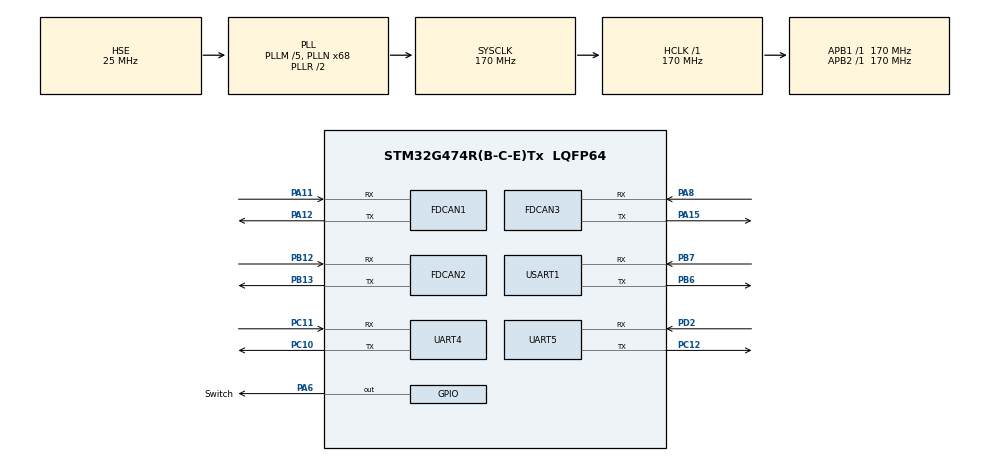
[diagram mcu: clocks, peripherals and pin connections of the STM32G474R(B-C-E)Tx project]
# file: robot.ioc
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Dma.Request0=USART1_RX
Dma.Request1=UART5_RX
Dma.Request2=UART4_RX
Dma.UART4_RX.2.Direction=DMA_PERIPH_TO_MEMORY
Dma.UART4_RX.2.EventEnable=DISABLE
Dma.UART4_RX.2.Instance=DMA1_Channel3
Dma.UART4_RX.2.MemDataAlignment=DMA_MDATAALIGN_BYTE
Dma.UART4_RX.2.MemInc=DMA_MINC_ENABLE
Dma.UART4_RX.2.Mode=DMA_NORMAL
Dma.UART4_RX.2.PeriphDataAlignment=DMA_PDATAALIGN_BYTE
Dma.UART4_RX.2.PeriphInc=DMA_PINC_DISABLE
Dma.UART4_RX.2.Polarity=HAL_DMAMUX_REQ_GEN_RISING
Dma.UART4_RX.2.Priority=DMA_PRIORITY_LOW
Dma.UART4_RX.2.RequestNumber=1
Dma.UART4_RX.2.SignalID=NONE
Dma.UART4_RX.2.SyncEnable=DISABLE
Dma.UART4_RX.2.SyncPolarity=HAL_DMAMUX_SYNC_NO_EVENT
Dma.UART4_RX.2.SyncRequestNumber=1
Dma.UART4_RX.2.SyncSignalID=NONE
Dma.UART5_RX.1.Direction=DMA_PERIPH_TO_MEMORY
Dma.UART5_RX.1.EventEnable=DISABLE
Dma.UART5_RX.1.Instance=DMA1_Channel2
Dma.UART5_RX.1.MemDataAlignment=DMA_MDATAALIGN_BYTE
Dma.UART5_RX.1.MemInc=DMA_MINC_ENABLE
Dma.UART5_RX.1.Mode=DMA_NORMAL
Dma.UART5_RX.1.PeriphDataAlignment=DMA_PDATAALIGN_BYTE
Dma.UART5_RX.1.PeriphInc=DMA_PINC_DISABLE
Dma.UART5_RX.1.Polarity=HAL_DMAMUX_REQ_GEN_RISING
Dma.UART5_RX.1.Priority=DMA_PRIORITY_LOW
Dma.UART5_RX.1.RequestNumber=1
Dma.UART5_RX.1.SignalID=NONE
Dma.UART5_RX.1.SyncEnable=DISABLE
Dma.UART5_RX.1.SyncPolarity=HAL_DMAMUX_SYNC_NO_EVENT
Dma.UART5_RX.1.SyncRequestNumber=1
Dma.UART5_RX.1.SyncSignalID=NONE
Dma.USART1_RX.0.Direction=DMA_PERIPH_TO_MEMORY
Dma.USART1_RX.0.EventEnable=DISABLE
Dma.USART1_RX.0.Instance=DMA1_Channel1
Dma.USART1_RX.0.MemDataAlignment=DMA_MDATAALIGN_BYTE
Dma.USART1_RX.0.MemInc=DMA_MINC_ENABLE
Dma.USART1_RX.0.Mode=DMA_NORMAL
Dma.USART1_RX.0.PeriphDataAlignment=DMA_PDATAALIGN_BYTE
Dma.USART1_RX.0.PeriphInc=DMA_PINC_DISABLE
Dma.USART1_RX.0.Polarity=HAL_DMAMUX_REQ_GEN_RISING
Dma.USART1_RX.0.Priority=DMA_PRIORITY_LOW
Dma.USART1_RX.0.RequestNumber=1
Dma.USART1_RX.0.SignalID=NONE
Dma.USART1_RX.0.SyncEnable=DISABLE
Dma.USART1_RX.0.SyncPolarity=HAL_DMAMUX_SYNC_NO_EVENT
Dma.USART1_RX.0.SyncRequestNumber=1
Dma.USART1_RX.0.SyncSignalID=NONE
FDCAN1.CalculateBaudRateNominal=1000000
FDCAN1.CalculateTimeBitNominal=1000
FDCAN1.CalculateTimeQuantumNominal=100.0
FDCAN1.DataPrescaler=17
FDCAN1.DataTimeSeg1=6
FDCAN1.DataTimeSeg2=3
FDCAN1.NominalPrescaler=17
FDCAN1.NominalTimeSeg1=6
FDCAN1.NominalTimeSeg2=3
FDCAN1.StdFiltersNbr=1
FDCAN2.CalculateBaudRateNominal=1000000
FDCAN2.CalculateTimeBitNominal=1000
FDCAN2.CalculateTimeQuantumNominal=100.0
FDCAN2.DataPrescaler=17
FDCAN2.DataTimeSeg1=6
FDCAN2.DataTimeSeg2=3
FDCAN2.Mode=FDCAN_MODE_NORMAL
FDCAN2.NominalPrescaler=17
FDCAN2.NominalTimeSeg1=6
FDCAN2.NominalTimeSeg2=3
FDCAN2.StdFiltersNbr=1
FDCAN3.CalculateBaudRateNominal=1000000
FDCAN3.CalculateTimeBitNominal=1000
FDCAN3.CalculateTimeQuantumNominal=100.0
FDCAN3.DataPrescaler=17
FDCAN3.DataTimeSeg1=6
FDCAN3.DataTimeSeg2=3
FDCAN3.NominalPrescaler=17
FDCAN3.NominalTimeSeg1=6
FDCAN3.NominalTimeSeg2=3
FDCAN3.StdFiltersNbr=1
FREERTOS.Mutexes01=motorMutex,Dynamic,NULL,Available
FREERTOS.Queues01=task3position,16,Task3Position_t,0,Dynamic,NULL,NULL
FREERTOS.Tasks01=Task,24,256,Task0,As weak,NULL,Dynamic,NULL,NULL
FREERTOS.configENABLE_FPU=1
FREERTOS.configMINIMAL_STACK_SIZE=256
Mcu.Family=STM32G4
Mcu.Name=STM32G474R(B-C-E)Tx
Mcu.Package=LQFP64
NVIC.DMA1_Channel1_IRQn=true\:5\:0\:false\:false\:true\:true\:false\:true\:true
NVIC.DMA1_Channel2_IRQn=true\:5\:0\:false\:false\:true\:true\:false\:true\:true
NVIC.DMA1_Channel3_IRQn=true\:5\:0\:false\:false\:true\:true\:false\:true\:true
NVIC.FDCAN1_IT0_IRQn=true\:5\:0\:false\:false\:true\:true\:true\:true\:true
NVIC.FDCAN1_IT1_IRQn=true\:5\:0\:false\:false\:true\:true\:true\:true\:true
NVIC.FDCAN2_IT0_IRQn=true\:5\:0\:false\:false\:true\:true\:true\:true\:true
NVIC.FDCAN2_IT1_IRQn=true\:5\:0\:false\:false\:true\:true\:true\:true\:true
NVIC.PriorityGroup=NVIC_PRIORITYGROUP_4
NVIC.TIM5_IRQn=true\:15\:0\:false\:false\:true\:false\:false\:true\:true
NVIC.TIM6_DAC_IRQn=true\:5\:0\:false\:false\:true\:true\:true\:true\:true
NVIC.TimeBase=TIM5_IRQn
NVIC.TimeBaseIP=TIM5
NVIC.UART4_IRQn=true\:5\:0\:false\:false\:true\:true\:true\:true\:true
NVIC.UART5_IRQn=true\:5\:0\:false\:false\:true\:true\:true\:true\:true
NVIC.USART1_IRQn=true\:5\:0\:false\:false\:true\:true\:true\:true\:true
PA11.Mode=FDCAN_Activate
PA11.Signal=FDCAN1_RX
PA12.Mode=FDCAN_Activate
PA12.Signal=FDCAN1_TX
PA13.Mode=Serial_Wire
PA13.Signal=SYS_JTMS-SWDIO
PA14.Mode=Serial_Wire
PA14.Signal=SYS_JTCK-SWCLK
PA15.Mode=FDCAN_Activate
PA15.Signal=FDCAN3_TX
PA6.GPIO_Label=Switch
PA6.PinState=GPIO_PIN_RESET
PA6.Signal=GPIO_Output
PA8.Mode=FDCAN_Activate
PA8.Signal=FDCAN3_RX
PB12.Mode=FDCAN_Activate
PB12.Signal=FDCAN2_RX
PB13.Mode=FDCAN_Activate
PB13.Signal=FDCAN2_TX
PB6.Mode=Asynchronous
PB6.Signal=USART1_TX
PB7.Mode=Asynchronous
PB7.Signal=USART1_RX
PC10.Mode=Asynchronous
PC10.Signal=UART4_TX
PC11.Mode=Asynchronous
PC11.Signal=UART4_RX
PC12.Mode=Asynchronous
PC12.Signal=UART5_TX
PC14-OSC32_IN.Mode=LSE-External-Oscillator
PC14-OSC32_IN.Signal=RCC_OSC32_IN
PC15-OSC32_OUT.Mode=LSE-External-Oscillator
PC15-OSC32_OUT.Signal=RCC_OSC32_OUT
PD2.Mode=Asynchronous
PD2.Signal=UART5_RX
PF0-OSC_IN.Mode=HSE-External-Oscillator
PF0-OSC_IN.Signal=RCC_OSC_IN
PF1-OSC_OUT.Mode=HSE-External-Oscillator
PF1-OSC_OUT.Signal=RCC_OSC_OUT
ProjectManager.HeapSize=0x400
ProjectManager.StackSize=0x400
ProjectManager.TargetToolchain=MDK-ARM V5.32
RCC.ADC12Freq_Value=170000000
RCC.ADC345Freq_Value=170000000
RCC.AHBFreq_Value=170000000
RCC.APB1Freq_Value=170000000
RCC.APB1TimFreq_Value=170000000
RCC.APB2Freq_Value=170000000
RCC.APB2TimFreq_Value=170000000
RCC.CortexFreq_Value=170000000
RCC.EXTERNAL_CLOCK_VALUE=12288000
RCC.HCLKFreq_Value=170000000
RCC.HSE_VALUE=25000000
RCC.HSI48_VALUE=48000000
RCC.HSI_VALUE=16000000
RCC.PLLM=RCC_PLLM_DIV5
RCC.PLLN=68
RCC.PLLSourceVirtual=RCC_PLLSOURCE_HSE
RCC.SYSCLKFreq_VALUE=170000000
RCC.SYSCLKSource=RCC_SYSCLKSOURCE_PLLCLK
RCC.USBFreq_Value=170000000
RCC.VCOOutputFreq_Value=340000000
TIM6.AutoReloadPreload=TIM_AUTORELOAD_PRELOAD_ENABLE
TIM6.PeriodNoDither=99
TIM6.Prescaler=8499
USART1.VirtualMode-Asynchronous=VM_ASYNC
VP_FREERTOS_VS_CMSIS_V2.Mode=CMSIS_V2
VP_SYS_VS_DBSignals.Mode=DisableDeadBatterySignals
VP_SYS_VS_tim5.Mode=TIM5
VP_TIM6_VS_ClockSourceINT.Mode=Enable_Timer
board=custom

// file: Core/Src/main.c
/* USER CODE BEGIN Header */
/**
  ******************************************************************************
  * @file           : main.c
  * @brief          : Main program body
  ******************************************************************************
  * @attention
  *
  * Copyright (c) 2025 STMicroelectronics.
  * All rights reserved.
  *
  * This software is licensed under terms that can be found in the LICENSE file
  * in the root directory of this software component.
  * If no LICENSE file comes with this software, it is provided AS-IS.
  *
  ******************************************************************************
  */
/* USER CODE END Header */
#include "main.h"
#include "cmsis_os.h"
#include "dma.h"
#include "fdcan.h"
#include "tim.h"
#include "usart.h"
#include "gpio.h"

/* USER CODE BEGIN Includes */
#include "fdcan_bsp.h"
#include "dji_motor.h"
#include "cybergear_motor.h"
#include "actuator_control.h"
/* USER CODE END Includes */

void SystemClock_Config(void);
void MX_FREERTOS_Init(void);

int main(void)
{

  /* MCU Configuration--------------------------------------------------------*/

  /* Reset of all peripherals, Initializes the Flash interface and the Systick. */
  HAL_Init();

  /* Configure the system clock */
  SystemClock_Config();

  /* Initialize all configured peripherals */
  MX_GPIO_Init();
  MX_DMA_Init();
  MX_USART1_UART_Init();
  MX_FDCAN1_Init();
  MX_FDCAN2_Init();
  MX_FDCAN3_Init();
  MX_TIM6_Init();
  MX_UART5_Init();
  MX_UART4_Init();

  /* Init scheduler */
  osKernelInitialize();  /* Call init function for freertos objects (in cmsis_os2.c) */
  MX_FREERTOS_Init();

  /* Start scheduler */
  osKernelStart();

  /* We should never get here as control is now taken by the scheduler */

  /* Infinite loop */
  while (1)
  {

    /* USER CODE BEGIN 3 */
//		cybergear_motor_set_position(mi_motor, cybergear_motor_degree2rad(0.0f), cybergear_motor_rpm2rad(50));
//		HAL_Delay(1000);
//		cybergear_motor_set_position(mi_motor, cybergear_motor_degree2rad(60.0f), cybergear_motor_rpm2rad(50));
//		HAL_Delay(1000);

//		dji_motor_set_location(dji_motor, dji_degree2encoder(0.0f));
//    HAL_Delay(1000);
//    dji_motor_set_location(dji_motor, dji_degree2encoder(180.0f));
//    HAL_Delay(1000);

  }
  /* USER CODE END 3 */
}

void SystemClock_Config(void)
{
  RCC_OscInitTypeDef RCC_OscInitStruct = {0};
  RCC_ClkInitTypeDef RCC_ClkInitStruct = {0};

  /** Configure the main internal regulator output voltage
  */
  HAL_PWREx_ControlVoltageScaling(PWR_REGULATOR_VOLTAGE_SCALE1_BOOST);

  /** Initializes the RCC Oscillators according to the specified parameters
  * in the RCC_OscInitTypeDef structure.
  */
  RCC_OscInitStruct.OscillatorType = RCC_OSCILLATORTYPE_HSE;
  RCC_OscInitStruct.HSEState = RCC_HSE_ON;
  RCC_OscInitStruct.PLL.PLLState = RCC_PLL_ON;
  RCC_OscInitStruct.PLL.PLLSource = RCC_PLLSOURCE_HSE;
  RCC_OscInitStruct.PLL.PLLM = RCC_PLLM_DIV5;
  RCC_OscInitStruct.PLL.PLLN = 68;
  RCC_OscInitStruct.PLL.PLLP = RCC_PLLP_DIV2;
  RCC_OscInitStruct.PLL.PLLQ = RCC_PLLQ_DIV2;
  RCC_OscInitStruct.PLL.PLLR = RCC_PLLR_DIV2;
  if (HAL_RCC_OscConfig(&RCC_OscInitStruct) != HAL_OK)
  {
    Error_Handler();
  }

  /** Initializes the CPU, AHB and APB buses clocks
  */
  RCC_ClkInitStruct.ClockType = RCC_CLOCKTYPE_HCLK|RCC_CLOCKTYPE_SYSCLK
                              |RCC_CLOCKTYPE_PCLK1|RCC_CLOCKTYPE_PCLK2;
  RCC_ClkInitStruct.SYSCLKSource = RCC_SYSCLKSOURCE_PLLCLK;
  RCC_ClkInitStruct.AHBCLKDivider = RCC_SYSCLK_DIV1;
  RCC_ClkInitStruct.APB1CLKDivider = RCC_HCLK_DIV1;
  RCC_ClkInitStruct.APB2CLKDivider = RCC_HCLK_DIV1;

  if (HAL_RCC_ClockConfig(&RCC_ClkInitStruct, FLASH_LATENCY_4) != HAL_OK)
  {
    Error_Handler();
  }
}

void HAL_TIM_PeriodElapsedCallback(TIM_HandleTypeDef *htim)
{
  if (htim->Instance == TIM5)
  {
    HAL_IncTick();
  }
}

void Error_Handler(void)
{
  __disable_irq();
  while (1)
  {
  }
}

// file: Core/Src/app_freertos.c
/* USER CODE BEGIN Header */
/**
  ******************************************************************************
  * File Name          : app_freertos.c
  * Description        : Code for freertos applications
  ******************************************************************************
  * @attention
  *
  * Copyright (c) 2025 STMicroelectronics.
  * All rights reserved.
  *
  * This software is licensed under terms that can be found in the LICENSE file
  * in the root directory of this software component.
  * If no LICENSE file comes with this software, it is provided AS-IS.
  *
  ******************************************************************************
  */
/* USER CODE END Header */

#include "FreeRTOS.h"
#include "task.h"
#include "main.h"
#include "cmsis_os.h"

/* USER CODE BEGIN Includes */
#include "fdcan_bsp.h"
#include "dji_motor.h"
#include "cybergear_motor.h"
#include "usart.h"
#include "stdio.h"
#include "string.h"
#include <stdlib.h>
#include "trajectory_planner.h"
#include "task_rtos.h"
/* USER CODE END Includes */

/* USER CODE BEGIN PD */
#define buf_size 			256
#define TASK_NONE     0
#define TASK_1 				1
#define TASK_2 				2
#define TASK_3 				3
Task3Position_t random_positions[3];
int flag = 0;
/* USER CODE END PD */

/* USER CODE BEGIN Variables */
uint8_t rx_buffer[buf_size];
volatile int16_t sys = TASK_NONE;
TestPosition_t test = { 620.0f, 145.0f, 0.0f, 0.0f, 0 };
/* USER CODE END Variables */
/* Definitions for Task */
osThreadId_t TaskHandle;
const osThreadAttr_t Task_attributes = {
  .name = "Task",
  .priority = (osPriority_t) osPriorityNormal,
  .stack_size = 256 * 4
};
/* Definitions for task3position */
osMessageQueueId_t task3positionHandle;
const osMessageQueueAttr_t task3position_attributes = {
  .name = "task3position"
};
/* Definitions for motorMutex */
osMutexId_t motorMutexHandle;
const osMutexAttr_t motorMutex_attributes = {
  .name = "motorMutex"
};

void Task0(void *argument);

void MX_FREERTOS_Init(void); /* (MISRA C 2004 rule 8.1) */

void MX_FREERTOS_Init(void) {
  /* USER CODE BEGIN Init */
	fdcan_bsp_init();
	HAL_UARTEx_ReceiveToIdle_DMA(&huart5, rx_buffer, buf_size);
	trajectory_planner_init();
  dji_motors_init();
	cybergear_motors_init();

	fdcan_bsp_start(&hfdcan1);
	fdcan_bsp_start(&hfdcan2);

  /* USER CODE END Init */
  /* Create the mutex(es) */
  /* creation of motorMutex */
  motorMutexHandle = osMutexNew(&motorMutex_attributes);

  /* Create the queue(s) */
  /* creation of task3position */
  task3positionHandle = osMessageQueueNew (16, sizeof(Task3Position_t), &task3position_attributes);

  /* Create the thread(s) */
  /* creation of Task */
  TaskHandle = osThreadNew(Task0, NULL, &Task_attributes);

}

__weak void Task0(void *argument)
{
  for(;;)
  {
    osDelay(1);
  }
}

/* USER CODE BEGIN Application */
void  HAL_UARTEx_RxEventCallback(UART_HandleTypeDef *huart, uint16_t Size)
{
		// 确保是来自 huart1 的中断
    if (huart == &huart5)
    {
        // 1. 将数据包末尾添加 null 终止符，以便 sscanf 等字符串函数安全解析
        rx_buffer[Size] = '\0';

        // 2. 解析指令
        // 指令 'a': 启动任务一
        if (rx_buffer[0] == 'a')
        {
            sys = TASK_1;
        }
        // 指令 'b': 启动任务二
        else if (rx_buffer[0] == 'b')
        {
            sys = TASK_2;
        }
        // 指令 'c': 启动任务三
        else if (rx_buffer[0] == 'c')
        {
            sys = TASK_3;
        }
        // 指令 'F': 任务三随机坐标 (格式: F<r1>A<a1>S<r2>A<a2>L<r3>A<a3>)
        else if (rx_buffer[0] == 'F')
        {
            // 将变量定义在最小作用域 (回调函数内部)
            int32_t parsed_numbers[6]; // 存储解析出的6个整数
//            Task3Position_t local_positions[3]; // 存储转换后的3个坐标

            // 尝试解析字符串
            // 格式: F(radius1)A(angle1)S(radius2)A(angle2)L(radius3)A(angle3)
            int parse_count = sscanf((char*)rx_buffer, "F%dA%dS%dA%dL%dA%d",
                                     &parsed_numbers[0], &parsed_numbers[1],
                                     &parsed_numbers[2], &parsed_numbers[3],
                                     &parsed_numbers[4], &parsed_numbers[5]);

            // 确保成功解析了所有 6 个数字
            if (parse_count == 6)
            {
                // 将解析的整数转换为浮点数并填充结构体
                random_positions[0].radius = (float)parsed_numbers[0];
                random_positions[0].angle  = -(float)parsed_numbers[1];
                random_positions[1].radius = (float)parsed_numbers[2];
                random_positions[1].angle  = -(float)parsed_numbers[3];
                random_positions[2].radius = (float)parsed_numbers[4];
                random_positions[2].angle  = -(float)parsed_numbers[5];
				flag = 1;
                // 将解析到的坐标发送到消息队列 (在中断中，使用 0 超时)
//                send_task3_positions(local_positions, 3);
            }
            else
            {
                // 可选：添加解析失败的错误处理日志
                // printf("UART Parse Error for Task 3 data\r\n");
            }
        }
				// 指令 'T': 仅调试时使用，输入四个坐标传入test结构体
				// 格式: T H<height> R<radius> C<chassis_angle> S<suction_angle> X<suction_switch>
				if	(rx_buffer[0] == 'T')
				{
						int parsed_numbers[5]; // 存储解析出的5个整数
						// 尝试解析字符串
            // 格式: T H(height) R(radius) C(chassis_angle) S(suction_angle) X(suction_switch)
            int parse_count = sscanf((char*)rx_buffer, "T H%d R%d C%d S%d X%d",
                                     &parsed_numbers[0], &parsed_numbers[1],
                                     &parsed_numbers[2], &parsed_numbers[3],
																		 &parsed_numbers[4]);

						// 传入test结构体
						test.height = (float)parsed_numbers[0];					// 主轴高度
						test.radius = (float)parsed_numbers[1];					// 径向距离
						test.chassis_angle = (float)parsed_numbers[2];	// 底盘角度
						test.suction_angle = (float)parsed_numbers[3];	// 吸盘角度
						test.suction_switch = parsed_numbers[4];				// 吸盘开关
				}

        // 3. 重新启动 UART DMA 接收，准备接收下一条指令
        HAL_UARTEx_ReceiveToIdle_DMA(huart, rx_buffer, buf_size);
    }
}

/**
  * @brief  UART error callback.
  * @param  huart UART handle.
  * @retval None
  */
void HAL_UART_ErrorCallback(UART_HandleTypeDef *huart)
{
  // 清除所有错误标志位
	__HAL_UART_CLEAR_FLAG(huart, UART_FLAG_ORE | UART_FLAG_NE | UART_FLAG_FE | UART_FLAG_PE);

	// 重启串口
	HAL_UARTEx_ReceiveToIdle_DMA(huart, rx_buffer, buf_size);
}
/* USER CODE END Application */
